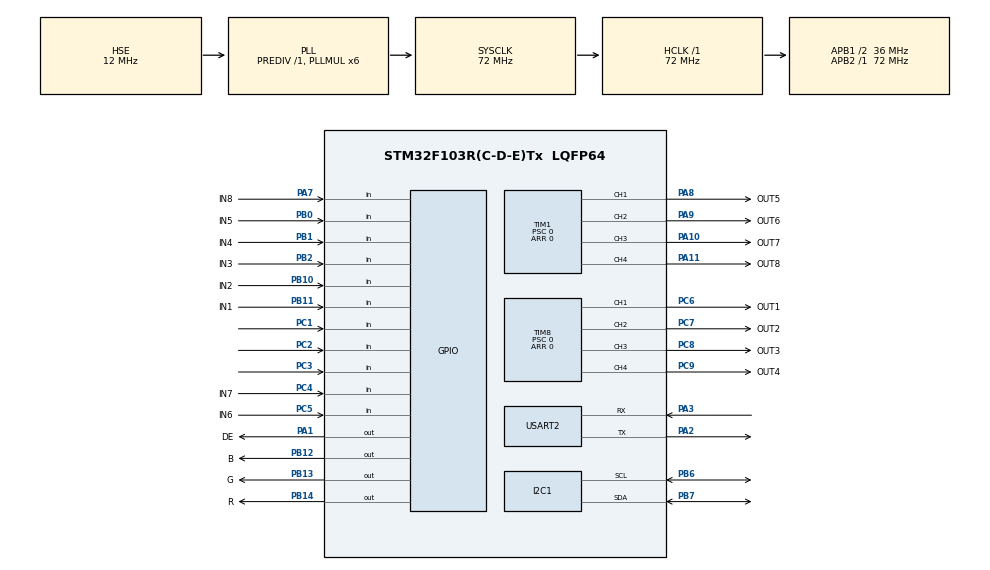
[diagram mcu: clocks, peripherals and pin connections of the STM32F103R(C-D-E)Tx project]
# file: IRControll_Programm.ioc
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FREERTOS.Tasks01=MainTask,0,256,mainTask,Default,NULL,Dynamic,NULL,NULL;Modbus,0,256,ModBus,Default,NULL,Dynamic,NULL,NULL
FREERTOS.configTOTAL_HEAP_SIZE=20000
Mcu.Family=STM32F1
Mcu.Name=STM32F103R(C-D-E)Tx
Mcu.Package=LQFP64
NVIC.PriorityGroup=NVIC_PRIORITYGROUP_4
NVIC.TIM6_IRQn=true\:5\:0\:false\:false\:true\:true\:true\:true
NVIC.TIM7_IRQn=true\:0\:0\:false\:false\:true\:false\:false\:true
NVIC.TimeBase=TIM7_IRQn
NVIC.TimeBaseIP=TIM7
NVIC.USART2_IRQn=true\:5\:0\:false\:false\:true\:true\:true\:true
PA1.GPIO_Label=DE
PA1.Signal=GPIO_Output
PA10.GPIO_Label=OUT7
PA10.Signal=S_TIM1_CH3
PA11.GPIO_Label=OUT8
PA11.Signal=S_TIM1_CH4
PA13.Mode=Serial_Wire
PA13.Signal=SYS_JTMS-SWDIO
PA14.Mode=Serial_Wire
PA14.Signal=SYS_JTCK-SWCLK
PA2.Mode=Asynchronous
PA2.Signal=USART2_TX
PA3.Mode=Asynchronous
PA3.Signal=USART2_RX
PA7.GPIO_Label=IN8
PA7.GPIO_PuPd=GPIO_PULLUP
PA7.Signal=GPIO_Input
PA8.GPIO_Label=OUT5
PA8.Signal=S_TIM1_CH1
PA9.GPIO_Label=OUT6
PA9.Signal=S_TIM1_CH2
PB0.GPIO_Label=IN5
PB0.GPIO_PuPd=GPIO_PULLUP
PB0.Signal=GPIO_Input
PB1.GPIO_Label=IN4
PB1.GPIO_PuPd=GPIO_PULLUP
PB1.Signal=GPIO_Input
PB10.GPIO_Label=IN2
PB10.GPIO_PuPd=GPIO_PULLUP
PB10.Signal=GPIO_Input
PB11.GPIO_Label=IN1
PB11.GPIO_PuPd=GPIO_PULLUP
PB11.Signal=GPIO_Input
PB12.GPIO_Label=B
PB12.Signal=GPIO_Output
PB13.GPIO_Label=G
PB13.Signal=GPIO_Output
PB14.GPIO_Label=R
PB14.Signal=GPIO_Output
PB2.GPIO_Label=IN3
PB2.GPIO_PuPd=GPIO_PULLUP
PB2.Signal=GPIO_Input
PB6.Mode=I2C
PB6.Signal=I2C1_SCL
PB7.Mode=I2C
PB7.Signal=I2C1_SDA
PC1.GPIO_PuPd=GPIO_PULLUP
PC1.Signal=GPIO_Input
PC2.GPIO_PuPd=GPIO_PULLUP
PC2.Signal=GPIO_Input
PC3.GPIO_PuPd=GPIO_PULLUP
PC3.Signal=GPIO_Input
PC4.GPIO_Label=IN7
PC4.GPIO_PuPd=GPIO_PULLUP
PC4.Signal=GPIO_Input
PC5.GPIO_Label=IN6
PC5.GPIO_PuPd=GPIO_PULLUP
PC5.Signal=GPIO_Input
PC6.GPIO_Label=OUT1
PC6.Signal=S_TIM8_CH1
PC7.GPIO_Label=OUT2
PC7.Signal=S_TIM8_CH2
PC8.GPIO_Label=OUT3
PC8.Signal=S_TIM8_CH3
PC9.GPIO_Label=OUT4
PC9.Signal=S_TIM8_CH4
PD0-OSC_IN.Mode=HSE-External-Oscillator
PD0-OSC_IN.Signal=RCC_OSC_IN
PD1-OSC_OUT.Mode=HSE-External-Oscillator
PD1-OSC_OUT.Signal=RCC_OSC_OUT
ProjectManager.HeapSize=0x200
ProjectManager.StackSize=0x400
ProjectManager.TargetToolchain=EWARM V8.32
RCC.AHBFreq_Value=72000000
RCC.APB1CLKDivider=RCC_HCLK_DIV2
RCC.APB1Freq_Value=36000000
RCC.APB1TimFreq_Value=72000000
RCC.APB2Freq_Value=72000000
RCC.APB2TimFreq_Value=72000000
RCC.HCLKFreq_Value=72000000
RCC.HSE_VALUE=12000000
RCC.PLLMUL=RCC_PLL_MUL6
RCC.PLLSourceVirtual=RCC_PLLSOURCE_HSE
RCC.SYSCLKFreq_VALUE=72000000
RCC.SYSCLKSource=RCC_SYSCLKSOURCE_PLLCLK
RCC.USBFreq_Value=72000000
SH.S_TIM1_CH1.0=TIM1_CH1,PWM Generation1 CH1
SH.S_TIM1_CH2.0=TIM1_CH2,PWM Generation2 CH2
SH.S_TIM1_CH3.0=TIM1_CH3,PWM Generation3 CH3
SH.S_TIM1_CH4.0=TIM1_CH4,PWM Generation4 CH4
SH.S_TIM8_CH1.0=TIM8_CH1,PWM Generation1 CH1
SH.S_TIM8_CH2.0=TIM8_CH2,PWM Generation2 CH2
SH.S_TIM8_CH3.0=TIM8_CH3,PWM Generation3 CH3
SH.S_TIM8_CH4.0=TIM8_CH4,PWM Generation4 CH4
TIM1.Channel-PWM\ Generation1\ CH1=TIM_CHANNEL_1
TIM1.Channel-PWM\ Generation2\ CH2=TIM_CHANNEL_2
TIM1.Channel-PWM\ Generation3\ CH3=TIM_CHANNEL_3
TIM1.Channel-PWM\ Generation4\ CH4=TIM_CHANNEL_4
TIM1.Period=0
TIM1.Prescaler=0
TIM6.Prescaler=71
TIM8.Channel-PWM\ Generation1\ CH1=TIM_CHANNEL_1
TIM8.Channel-PWM\ Generation2\ CH2=TIM_CHANNEL_2
TIM8.Channel-PWM\ Generation3\ CH3=TIM_CHANNEL_3
TIM8.Channel-PWM\ Generation4\ CH4=TIM_CHANNEL_4
TIM8.Period=0
TIM8.Prescaler=0
USART2.VirtualMode=VM_ASYNC
VP_FREERTOS_VS_CMSIS_V1.Mode=CMSIS_V1
VP_SYS_VS_tim7.Mode=TIM7
VP_TIM1_VS_ClockSourceINT.Mode=Internal
VP_TIM6_VS_ClockSourceINT.Mode=Enable_Timer
VP_TIM8_VS_ClockSourceINT.Mode=Internal
board=custom

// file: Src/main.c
/* USER CODE BEGIN Header */
/**
  ******************************************************************************
  * @file           : main.c
  * @brief          : Main program body
  ******************************************************************************
  * @attention
  *
  * <h2><center>&copy; Copyright (c) 2020 STMicroelectronics.
  * All rights reserved.</center></h2>
  *
  * This software component is licensed by ST under Ultimate Liberty license
  * SLA0044, the "License"; You may not use this file except in compliance with
  * the License. You may obtain a copy of the License at:
  *                             www.st.com/SLA0044
  *
  ******************************************************************************
  */
/* USER CODE END Header */

#include "main.h"
#include "cmsis_os.h"
#include "i2c.h"
#include "tim.h"
#include "usart.h"
#include "gpio.h"

/* USER CODE BEGIN Includes */
#include "flash.h"
/* USER CODE END Includes */

/* USER CODE BEGIN PV */
settings_t settings = {115200, 0x0E};
/* USER CODE END PV */

void SystemClock_Config(void);
void MX_FREERTOS_Init(void);

int main(void)
{

  /* MCU Configuration--------------------------------------------------------*/

  /* Reset of all peripherals, Initializes the Flash interface and the Systick. */
  HAL_Init();

  /* Configure the system clock */
  SystemClock_Config();

  /* Initialize all configured peripherals */
  MX_GPIO_Init();
  MX_I2C1_Init();
  MX_TIM1_Init();
  MX_TIM8_Init();
  MX_USART2_UART_Init();
  MX_TIM6_Init();
  /* USER CODE BEGIN 2 */
  Flash_ReadParams(&settings, StartSettingsAddres);
  if((settings.BaudRate == 0) | (settings.BaudRate == 0xFFFFFFFF))
    {
      settings.BaudRate = 115200;
      settings.SlaveAddress = 0x0D;
      FLASH_WriteSettings(settings, StartSettingsAddres);
    }
  /* USER CODE END 2 */

  /* Call init function for freertos objects (in freertos.c) */
  MX_FREERTOS_Init();
  /* Start scheduler */
  osKernelStart();

  /* We should never get here as control is now taken by the scheduler */
  /* Infinite loop */
  while (1)
  {

  }
}

void SystemClock_Config(void)
{
  RCC_OscInitTypeDef RCC_OscInitStruct = {0};
  RCC_ClkInitTypeDef RCC_ClkInitStruct = {0};

  /** Initializes the CPU, AHB and APB busses clocks
  */
  RCC_OscInitStruct.OscillatorType = RCC_OSCILLATORTYPE_HSE;
  RCC_OscInitStruct.HSEState = RCC_HSE_ON;
  RCC_OscInitStruct.HSEPredivValue = RCC_HSE_PREDIV_DIV1;
  RCC_OscInitStruct.HSIState = RCC_HSI_ON;
  RCC_OscInitStruct.PLL.PLLState = RCC_PLL_ON;
  RCC_OscInitStruct.PLL.PLLSource = RCC_PLLSOURCE_HSE;
  RCC_OscInitStruct.PLL.PLLMUL = RCC_PLL_MUL6;
  if (HAL_RCC_OscConfig(&RCC_OscInitStruct) != HAL_OK)
  {
    Error_Handler();
  }
  /** Initializes the CPU, AHB and APB busses clocks
  */
  RCC_ClkInitStruct.ClockType = RCC_CLOCKTYPE_HCLK|RCC_CLOCKTYPE_SYSCLK
                              |RCC_CLOCKTYPE_PCLK1|RCC_CLOCKTYPE_PCLK2;
  RCC_ClkInitStruct.SYSCLKSource = RCC_SYSCLKSOURCE_PLLCLK;
  RCC_ClkInitStruct.AHBCLKDivider = RCC_SYSCLK_DIV1;
  RCC_ClkInitStruct.APB1CLKDivider = RCC_HCLK_DIV2;
  RCC_ClkInitStruct.APB2CLKDivider = RCC_HCLK_DIV1;

  if (HAL_RCC_ClockConfig(&RCC_ClkInitStruct, FLASH_LATENCY_2) != HAL_OK)
  {
    Error_Handler();
  }
}

 /**
  * @brief  Period elapsed callback in non blocking mode
  * @note   This function is called  when TIM7 interrupt took place, inside
  * HAL_TIM_IRQHandler(). It makes a direct call to HAL_IncTick() to increment
  * a global variable "uwTick" used as application time base.
  * @param  htim : TIM handle
  * @retval None
  */
void HAL_TIM_PeriodElapsedCallback(TIM_HandleTypeDef *htim)
{
  if (htim->Instance == TIM7) {
    HAL_IncTick();
  }
}

void Error_Handler(void)
{
}

/************************ (C) COPYRIGHT STMicroelectronics *****END OF FILE****/

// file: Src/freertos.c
/* USER CODE BEGIN Header */
/**
******************************************************************************
* File Name          : freertos.c
* Description        : Code for freertos applications
******************************************************************************
* @attention
*
* <h2><center>&copy; Copyright (c) 2020 STMicroelectronics.
* All rights reserved.</center></h2>
*
* This software component is licensed by ST under Ultimate Liberty license
* SLA0044, the "License"; You may not use this file except in compliance with
* the License. You may obtain a copy of the License at:
*                             www.st.com/SLA0044
*
******************************************************************************
*/
/* USER CODE END Header */

#include "FreeRTOS.h"
#include "task.h"
#include "main.h"
#include "cmsis_os.h"

/* USER CODE BEGIN Includes */
#include "mb.h"
#include "mbport.h"
#include "flash.h"
/* USER CODE END Includes */

/* USER CODE BEGIN Variables */
extern TIM_HandleTypeDef htim1;
extern TIM_HandleTypeDef htim8;

extern settings_t settings;
uint16_t sensBuff[8] = {0};
uint8_t sensState = 255; // битовое поле

uint32_t freqSens = 72000000u/30000u;
uint32_t pwmSens;

/* USER CODE END Variables */
osThreadId MainTaskHandle;
osThreadId ModbusHandle;

void mainTask(void const * argument);
void ModBus(void const * argument);

void MX_FREERTOS_Init(void); /* (MISRA C 2004 rule 8.1) */

/* GetIdleTaskMemory prototype (linked to static allocation support) */
void vApplicationGetIdleTaskMemory( StaticTask_t **ppxIdleTaskTCBBuffer, StackType_t **ppxIdleTaskStackBuffer, uint32_t *pulIdleTaskStackSize );

/* USER CODE BEGIN GET_IDLE_TASK_MEMORY */
static StaticTask_t xIdleTaskTCBBuffer;
static StackType_t xIdleStack[configMINIMAL_STACK_SIZE];

void vApplicationGetIdleTaskMemory( StaticTask_t **ppxIdleTaskTCBBuffer, StackType_t **ppxIdleTaskStackBuffer, uint32_t *pulIdleTaskStackSize )
  {
    *ppxIdleTaskTCBBuffer = &xIdleTaskTCBBuffer;
    *ppxIdleTaskStackBuffer = &xIdleStack[0];
    *pulIdleTaskStackSize = configMINIMAL_STACK_SIZE;
    /* place for user code */
  }
/* USER CODE END GET_IDLE_TASK_MEMORY */

void MX_FREERTOS_Init(void) {

  /* Create the thread(s) */
  /* definition and creation of MainTask */
  osThreadDef(MainTask, mainTask, osPriorityNormal, 0, 256);
  MainTaskHandle = osThreadCreate(osThread(MainTask), NULL);

  /* definition and creation of Modbus */
  osThreadDef(Modbus, ModBus, osPriorityNormal, 0, 256);
  ModbusHandle = osThreadCreate(osThread(Modbus), NULL);

}

void mainTask(void const * argument)
  {
    /* USER CODE BEGIN mainTask */
    pwmSens = (freqSens/2u);
    htim1.Instance->ARR = freqSens; // установили частоту ~38кГц
    htim8.Instance->ARR = freqSens; // установили частоту ~38кГц

    HAL_TIM_PWM_Start(&htim1, TIM_CHANNEL_1);
    HAL_TIM_PWM_Start(&htim1, TIM_CHANNEL_2);
    HAL_TIM_PWM_Start(&htim1, TIM_CHANNEL_3);
    HAL_TIM_PWM_Start(&htim1, TIM_CHANNEL_4);

    HAL_TIM_PWM_Start(&htim8, TIM_CHANNEL_1);
    HAL_TIM_PWM_Start(&htim8, TIM_CHANNEL_2);
    HAL_TIM_PWM_Start(&htim8, TIM_CHANNEL_3);
    HAL_TIM_PWM_Start(&htim8, TIM_CHANNEL_4);

    /* Infinite loop */
    for(;;)
      {

        htim8.Instance->CCR1 = pwmSens; // CH1 out on
        osDelay(1);
        if(HAL_GPIO_ReadPin(IN1_GPIO_Port, IN1_Pin)){
          sensBuff[0] = 1;
          sensState |= 1<<0;
        }else{
          sensBuff[0] = 0;
          sensState &= ~(1<<0);
        }
        htim8.Instance->CCR1 = 0; // CH1 out off
        //osDelay(1);

        htim8.Instance->CCR2 = pwmSens; // CH1 out on
        osDelay(1);
        if(HAL_GPIO_ReadPin(IN2_GPIO_Port, IN2_Pin)){
          sensBuff[1] = 1;
          sensState |= 1<<1;
        }else{
          sensBuff[1] = 0;
          sensState &= ~(1<<1);
        }
        htim8.Instance->CCR2 = 0; // CH1 out off
        //osDelay(1);

        htim8.Instance->CCR3 = pwmSens; // CH1 out on
        osDelay(1);
        if(HAL_GPIO_ReadPin(IN3_GPIO_Port, IN3_Pin)){
          sensBuff[2] = 1;
          sensState |= 1<<2;
        }else{
          sensBuff[2] = 0;
          sensState &= ~(1<<2);
        }
        htim8.Instance->CCR3 = 0; // CH1 out off
        //osDelay(1);

        htim8.Instance->CCR4 = pwmSens; // CH1 out on
        osDelay(1);
        if(HAL_GPIO_ReadPin(IN4_GPIO_Port, IN4_Pin)){
          sensBuff[3] = 1;
          sensState |= 1<<3;
        }else{
          sensBuff[3] = 0;
          sensState &= ~(1<<3);
        }
        htim8.Instance->CCR4 = 0; // CH1 out off
        //osDelay(1);

        htim1.Instance->CCR1 = pwmSens; // CH1 out on
        osDelay(1);
        if(HAL_GPIO_ReadPin(IN5_GPIO_Port, IN5_Pin)){
          sensBuff[4] = 1;
          sensState |= 1<<4;
        }else{
          sensBuff[4] = 0;
          sensState &= ~(1<<4);
        }
        htim1.Instance->CCR1 = 0; // CH1 out off
        //osDelay(1);

        htim1.Instance->CCR2 = pwmSens; // CH1 out on
        osDelay(1);
        if(HAL_GPIO_ReadPin(IN6_GPIO_Port, IN6_Pin)){
          sensBuff[5] = 1;
          sensState |= 1<<5;
        }else{
          sensBuff[5] = 0;
          sensState &= ~(1<<5);
        }
        htim1.Instance->CCR2 = 0; // CH1 out off
        //osDelay(1);

        htim1.Instance->CCR3 = pwmSens; // CH1 out on
        osDelay(1);
        if(HAL_GPIO_ReadPin(IN7_GPIO_Port, IN7_Pin)){
          sensBuff[6] = 1;
          sensState |= 1<<6;
        }else{
          sensBuff[6] = 0;
          sensState &= ~(1<<6);
        }
        htim1.Instance->CCR3 = 0; // CH1 out off
        //osDelay(1);

        htim1.Instance->CCR4 = pwmSens; // CH1 out on
        osDelay(1);
        if(HAL_GPIO_ReadPin(IN8_GPIO_Port, IN8_Pin)){
          sensBuff[7] = 1;
          sensState |= 1<<7;
        }else{
          sensBuff[7] = 0;
          sensState &= ~(1<<7);
        }
        htim1.Instance->CCR4 = 0; // CH1 out off

        osDelay(1);
      }
    /* USER CODE END mainTask */
  }

void ModBus(void const * argument)
  {
    /* USER CODE BEGIN ModBus */
    /* Infinite loop */
    eMBErrorCode eStatus = eMBInit( MB_RTU, settings.SlaveAddress, 3, settings.BaudRate, MB_PAR_NONE );
    eStatus = eMBEnable();
    //HAL_TIM_Base_Start_IT(&htim17);
    for(;;)
      {
        eMBPoll();
        taskYIELD();
      }
    /* USER CODE END ModBus */
  }

/* USER CODE BEGIN Application */
/*description https://www.freemodbus.org/api/group__modbus__registers.html*/
//0x04
eMBErrorCode
eMBRegInputCB( UCHAR * pucRegBuffer, USHORT usAddress, USHORT usNRegs )
  {
    eMBErrorCode    eStatus = MB_ENOERR;

    return eStatus;
  }
//0x03 0x06 0x10
eMBErrorCode
eMBRegHoldingCB( UCHAR * pucRegBuffer, USHORT usAddress, USHORT usNRegs, eMBRegisterMode eMode )
  {
    //uint8_t CMD[5] = {0};
    volatile HAL_StatusTypeDef status;

    if(usAddress == 0 ){}
    else{usAddress--;}

    eMBErrorCode    eStatus = MB_ENOERR;

    switch (eMode)
      {
       case MB_REG_READ:
        {
          switch (usAddress)
            {
             case 0: //  Stop/Start
              {
                *(pucRegBuffer++) = sensBuff[0];
                break;
              }
             case 1: // Dir
              {
                *(pucRegBuffer++) = sensBuff[1];
                break;
              }
             case 2: //Status start/stop
              {
                *(pucRegBuffer++) = sensBuff[2];
                break;
              }
             case 3: //Status Dir
              {
                *(pucRegBuffer++) = sensBuff[3];
                break;
              }
             case 4: // RPM
              {
                *(pucRegBuffer++) = sensBuff[4];
                break;
              }
             case 5: //
              {
                *(pucRegBuffer++) = sensBuff[5];
                break;
              }
             case 6: //
              {
                *(pucRegBuffer++) = sensBuff[6];
                break;
              }
             case 7: //
              {
                *(pucRegBuffer++) = sensBuff[7];
                break;
              }
             case 8:
              {
                //(*(pucRegBuffer) = ) | (*(pucRegBuffer+1))) = settings.BaudRate /10;
                break;
              }
             case 9:
              {
                *(pucRegBuffer++) = sensState;
                break;
              }
             case 10:
              {

                break;
              }
             case 11:
              {
                *(pucRegBuffer+1) = settings.BaudRate;
                break;
              }
             default:
              {
                eStatus = MB_ENOREG;
                break;
              }
            }

          break;
        }
       case MB_REG_WRITE:
        {

          switch (usAddress)
            {
             case 0: //  Stop/Start
              {

                break;
              }
             case 1: // Dir
              {

                break;
              }
             case 2:
              {

                break;
              }
             case 3:
              {

                break;
              }
             case 4: //
              {

                break;
              }
             case 5: //
              {
                break;
              }
             case 6: //
              {

                break;
              }
             case 7: //
              {
                break;
              }
             case 8:
              {
                settings.BaudRate = ((*(pucRegBuffer)<<8) | (*(pucRegBuffer+1)))*10;
                break;
              }
             case 9:
              {

                break;
              }
             case 11:
              {
                settings.SlaveAddress = *(pucRegBuffer+1);
                break;
              }
             case 0x0F:
              {
                FLASH_WriteSettings(settings, StartSettingsAddres);
                break;
              }
             default:
              {
                eStatus = MB_ENOREG;
                break;
              }
            }
          break;
        }
       default:
        {
          eStatus = MB_EINVAL;
          break;
        }
      }

    return eStatus;
  }

// 0x01 0x0f 0x05
eMBErrorCode
eMBRegCoilsCB( UCHAR * pucRegBuffer, USHORT usAddress, USHORT usNCoils, eMBRegisterMode eMode )
  {
    return MB_ENOREG;
  }
//0x02
eMBErrorCode
eMBRegDiscreteCB( UCHAR * pucRegBuffer, USHORT usAddress, USHORT usNDiscrete )
  {
    return MB_ENOREG;
  }

/* USER CODE END Application */

/************************ (C) COPYRIGHT STMicroelectronics *****END OF FILE****/
